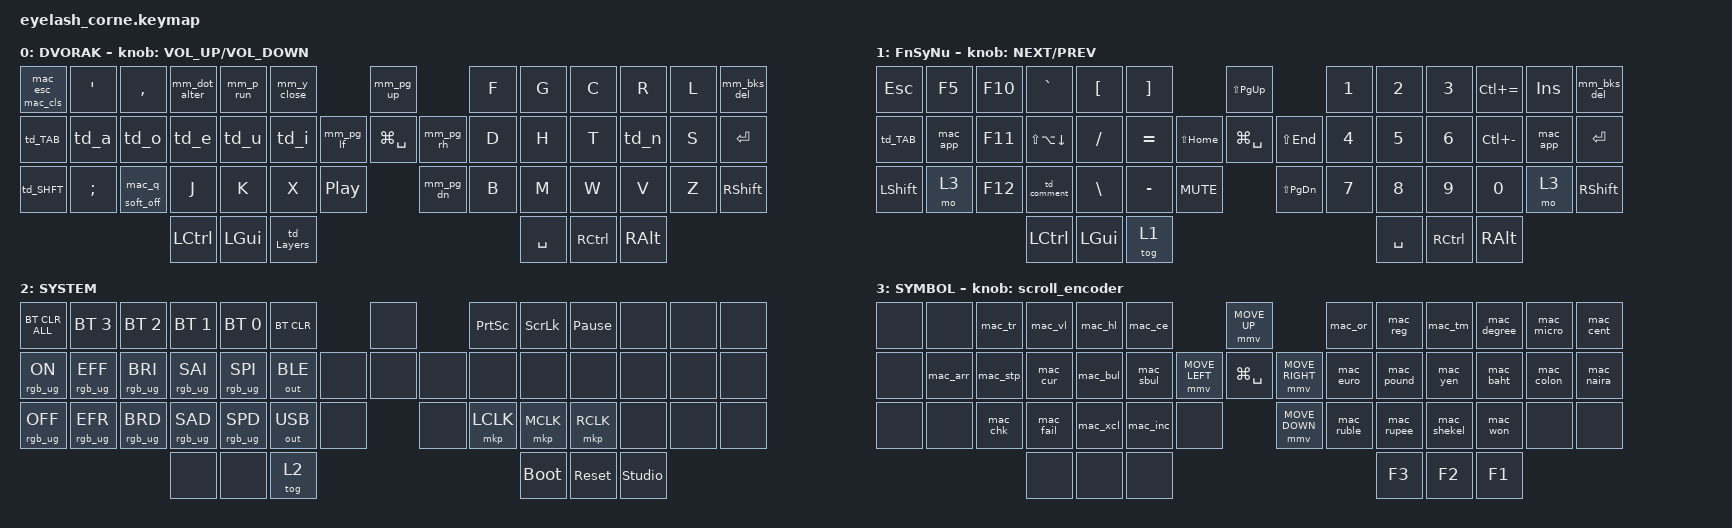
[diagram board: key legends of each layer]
#define ZMK_POINTING_DEFAULT_MOVE_VAL 1200  // antes 600
#define ZMK_POINTING_DEFAULT_SCRL_VAL 25    // antes 10

#include <input/processors.dtsi>
#include <zephyr/dt-bindings/input/input-event-codes.h>
#include <behaviors.dtsi>
#include <dt-bindings/zmk/bt.h>
#include <dt-bindings/zmk/keys.h>
#include <dt-bindings/zmk/outputs.h>
#include <dt-bindings/zmk/pointing.h>
#include <dt-bindings/zmk/rgb.h>

// Escaladores de movimiento y scroll
&mmv_input_listener { input-processors = <&zip_xy_scaler 2 1>; };
&msc_input_listener { input-processors = <&zip_scroll_scaler 2 1>; };

// Scroll config
&msc {
   acceleration-exponent = <1>;
   time-to-max-speed-ms = <300>;
   delay-ms = <0>;
};

// Mouse move config
&mmv {
   time-to-max-speed-ms = <300>;
   acceleration-exponent = <1>;
   trigger-period-ms = <16>;
};

// Apagado suave
&soft_off {
   hold-time-ms = <4000>;
   /delete-property/ split-peripheral-off-on-press;
};

// =========================
// BEHAVIORS
// =========================
/ {
      behaviors {
         // =========================
         // Tap-Dance
         // =========================
         td_SHFT: td_SHFT {
            compatible = "zmk,behavior-tap-dance";
            display-name = "Shift/Caps Lock";
            #binding-cells = <0>;
            tapping-term-ms = <250>;
            bindings = <&kp LEFT_SHIFT>, <&kp CAPS>;
         };

         td_TAB: td_TAB {
            compatible = "zmk,behavior-tap-dance";
            display-name = "TAB/BACK TAP";
            #binding-cells = <0>;
            tapping-term-ms = <200>;
            bindings = <&kp TAB>, <&kp LS(TAB)>;
         };

         td_Layers: td_Layers {
            compatible = "zmk,behavior-tap-dance";
            display-name = "Intercambio L1 y L2";
            #binding-cells = <0>;
            tapping-term-ms = <250>;
            bindings = <&tog 1>, <&tog 2>;
         };

         td_comment: td_comment {
            compatible = "zmk,behavior-tap-dance";
            display-name = "n/ñ";
            #binding-cells = <0>;
            tapping-term-ms = <250>;
            bindings = <&mac_comment>, <&mac_uncomment>;
         };

         // =========================
         // VOCALES Y ñ
         // =========================
         td_a: td_a {
            compatible = "zmk,behavior-tap-dance";
            display-name = "a/á";
            #binding-cells = <0>;
            tapping-term-ms = <250>;
            bindings = <&kp A>, <&mac_a>;
         };

         td_o: td_o {
            compatible = "zmk,behavior-tap-dance";
            display-name = "o/ó";
            #binding-cells = <0>;
            tapping-term-ms = <250>;
            bindings = <&kp O>, <&mac_o>;
         };

         td_e: td_e {
            compatible = "zmk,behavior-tap-dance";
            display-name = "e/é";
            #binding-cells = <0>;
            tapping-term-ms = <250>;
            bindings = <&kp E>, <&mac_e>;
         };

         td_u: td_u {
            compatible = "zmk,behavior-tap-dance";
            display-name = "u/ú";
            #binding-cells = <0>;
            tapping-term-ms = <250>;
            bindings = <&kp U>, <&mac_u>;
         };

         td_i: td_i {
            compatible = "zmk,behavior-tap-dance";
            display-name = "i/í";
            #binding-cells = <0>;
            tapping-term-ms = <250>;
            bindings = <&kp I>, <&mac_i>;
         };
         
         td_n: td_n {
            compatible = "zmk,behavior-tap-dance";
            display-name = "n/ñ";
            #binding-cells = <0>;
            tapping-term-ms = <250>;
            bindings = <&kp N>, <&mac_n>;
         };
         
         // =========================
         // Mod-Morphs
         // =========================
         mm_pg_up: mm_pg_up {
            compatible = "zmk,behavior-mod-morph";
            #binding-cells = <0>;
            bindings = <&kp UP>, <&kp PG_UP>;
            mods = <MOD_LCTL>;
         };

         mm_pg_dn: mm_pg_dn {
            compatible = "zmk,behavior-mod-morph";
            #binding-cells = <0>;
            bindings = <&kp DOWN>, <&kp PAGE_DOWN>;
            mods = <MOD_LCTL>;
         };

         mm_pg_lf: mm_pg_lf {
            compatible = "zmk,behavior-mod-morph";
            #binding-cells = <0>;
            bindings = <&kp LEFT>, <&kp HOME>;
            mods = <MOD_LCTL>;
         };

         mm_pg_rh: mm_pg_rh {
            compatible = "zmk,behavior-mod-morph";
            #binding-cells = <0>;
            bindings = <&kp RIGHT>, <&kp END>;
            mods = <MOD_LCTL>;
         };

         // BackSpace | Suprim
         mm_bks_del: mm_bks_del {
            compatible = "zmk,behavior-mod-morph";
            #binding-cells = <0>;
            bindings = <&kp BSPC>, <&kp DEL>;
            mods = <MOD_LSFT>;
         };

         mm_dot_alter: mm_dot_alter {
            compatible = "zmk,behavior-mod-morph";
            #binding-cells = <0>;
            bindings = <&kp DOT>, <&kp F1>;
            mods = <MOD_RALT>;
         };

         mm_p_run: mm_p_run {
            compatible = "zmk,behavior-mod-morph";
            #binding-cells = <0>;
            bindings = <&kp P>, <&kp F2>;
            mods = <MOD_RALT>;
         };

         mm_y_close: mm_y_close {
            compatible = "zmk,behavior-mod-morph";
            #binding-cells = <0>;
            bindings = <&kp Y>, <&kp F4>;
            mods = <MOD_RALT>;
         };

         
         // =========================
         // Hold-Taps
         // =========================
         // Soft Off
         ht_so_q: ht_so_q {
            compatible = "zmk,behavior-hold-tap";
            #binding-cells = <2>;
            flavor = "tap-preferred";
            tapping-term-ms = <250>;
            bindings = <&soft_off>, <&mac_q>;        
         };

         // Escape Close
         ht_cls_esc: ht_cls_esc {
            compatible = "zmk,behavior-hold-tap";
            #binding-cells = <2>;
            flavor = "tap-preferred";
            tapping-term-ms = <250>;
            bindings = <&mac_cls>, <&mac_esc>;        
         };
      };

      macros {
         // =========================
         // Acentos
         // =========================
         mac_a: mac_a {
            compatible = "zmk,behavior-macro";
            #binding-cells = <0>;
            bindings =
               <&macro_press   &kp RGUI>,
               <&macro_tap     &kp APOSTROPHE>,
               <&macro_tap     &kp A>,
               <&macro_release &kp RGUI>;
         };

         mac_e: mac_e {
            compatible = "zmk,behavior-macro";
            #binding-cells = <0>;
            bindings =
               <&macro_press   &kp RGUI>,
               <&macro_tap     &kp APOSTROPHE>,
               <&macro_tap     &kp E>,
               <&macro_release &kp RGUI>;
         };

         mac_i: mac_i {
            compatible = "zmk,behavior-macro";
            #binding-cells = <0>;
            bindings =
               <&macro_press   &kp RGUI>,
               <&macro_tap     &kp APOSTROPHE>,
               <&macro_tap     &kp I>,
               <&macro_release &kp RGUI>;
         };

         mac_o: mac_o {
            compatible = "zmk,behavior-macro";
            #binding-cells = <0>;
            bindings =
               <&macro_press   &kp RGUI>,
               <&macro_tap     &kp APOSTROPHE>,
               <&macro_tap     &kp O>,
               <&macro_release &kp RGUI>;
         };

         mac_u: mac_u {
            compatible = "zmk,behavior-macro";
            #binding-cells = <0>;
            bindings =
               <&macro_press   &kp RGUI>,
               <&macro_tap     &kp APOSTROPHE>,
               <&macro_tap     &kp U>,
               <&macro_release &kp RGUI>;
         };

         mac_n: mac_n {
            compatible = "zmk,behavior-macro";
            #binding-cells = <0>;
            bindings =
               <&macro_press   &kp RGUI>,
               <&macro_tap     &kp TILDE>,
               <&macro_tap     &kp N>,
               <&macro_release &kp RGUI>;
         };

         mac_q: mac_q {
            compatible = "zmk,behavior-macro";
            #binding-cells = <0>;
            bindings = <&macro_tap &kp Q>;
         };

         mac_esc: mac_esc {
            compatible = "zmk,behavior-macro";
            #binding-cells = <0>;
            bindings = <&macro_tap &kp ESC>;
         };

         // =========================
         // Comentarios
         // ========================= 
         mac_comment: mac_comment {
            compatible = "zmk,behavior-macro";
            #binding-cells = <0>;
            wait-ms = <10>;
            tap-ms = <10>;
            bindings = 
               <&macro_press   &kp LEFT_CONTROL>,
               <&macro_press   &kp K>,
               <&macro_tap     &kp C>,
               <&macro_release &kp K>,
               <&macro_release &kp LEFT_CONTROL>;
         };
 
         mac_uncomment: mac_uncomment {
            compatible = "zmk,behavior-macro";
            #binding-cells = <0>;
            wait-ms = <10>;
            tap-ms = <10>;
            bindings = 
               <&macro_press   &kp LEFT_CONTROL>,
               <&macro_press   &kp K>,
               <&macro_tap     &kp U>,
               <&macro_release &kp K>,
               <&macro_release &kp LEFT_CONTROL>;
         };
 
         mac_cls: mac_cls {
            compatible = "zmk,behavior-macro";
            #binding-cells = <0>;
            wait-ms = <10>;
            tap-ms = <10>;
            bindings = 
               <&macro_press   &kp LCTRL>,
               <&macro_press   &kp LALT>,
               <&macro_tap     &kp ESC>,
               <&macro_release &kp LALT>,
               <&macro_release &kp LCTRL>;
         };

         mac_or: mac_or {
            compatible = "zmk,behavior-macro";
            #binding-cells = <0>;
            wait-ms = <10>;
            bindings =
               <&macro_press   &kp LCTRL>,
               <&macro_press   &kp LSHFT>,
               <&macro_tap     &kp U>,
               <&macro_release &kp LSHFT>,
               <&macro_release &kp LCTRL>,
               <&macro_tap     &kp NUMBER_0>,
               <&macro_tap     &kp NUMBER_0>,
               <&macro_tap     &kp A>,
               <&macro_tap     &kp NUMBER_9>,
               <&macro_tap     &kp ENTER>;
         };

         mac_reg: mac_reg {
            compatible = "zmk,behavior-macro";
            #binding-cells = <0>;
            wait-ms = <10>;
            bindings =
               <&macro_press   &kp LCTRL>,
               <&macro_press   &kp LSHFT>,
               <&macro_tap     &kp U>,
               <&macro_release &kp LSHFT>,
               <&macro_release &kp LCTRL>,
               <&macro_tap     &kp NUMBER_0>,
               <&macro_tap     &kp NUMBER_0>,
               <&macro_tap     &kp A>,
               <&macro_tap     &kp E>,
               <&macro_tap     &kp ENTER>;
         };

         mac_tm: mac_tm {
            compatible = "zmk,behavior-macro";
            #binding-cells = <0>;
            wait-ms = <10>;
            bindings =
               <&macro_press   &kp LCTRL>,
               <&macro_press   &kp LSHFT>,
               <&macro_tap     &kp U>,
               <&macro_release &kp LSHFT>,
               <&macro_release &kp LCTRL>,
               <&macro_tap     &kp NUMBER_2>,
               <&macro_tap     &kp NUMBER_1>,
               <&macro_tap     &kp NUMBER_2>,
               <&macro_tap     &kp NUMBER_2>,
               <&macro_tap     &kp ENTER>;
         };

         mac_cent: mac_cent {
            compatible = "zmk,behavior-macro";
            #binding-cells = <0>;
            wait-ms = <10>;
            bindings =
               <&macro_press   &kp LCTRL>,
               <&macro_press   &kp LSHFT>,
               <&macro_tap     &kp U>,
               <&macro_release &kp LSHFT>,
               <&macro_release &kp LCTRL>,
               <&macro_tap   &kp NUMBER_0>,
               <&macro_tap   &kp NUMBER_0>,
               <&macro_tap   &kp A>,
               <&macro_tap   &kp NUMBER_2>,
               <&macro_tap   &kp ENTER>;
         };

         mac_euro: mac_euro {
            compatible = "zmk,behavior-macro";
            #binding-cells = <0>;
            wait-ms = <10>;
            bindings =
               <&macro_press   &kp LCTRL>,
               <&macro_press   &kp LSHFT>,
               <&macro_tap     &kp U>,
               <&macro_release &kp LSHFT>,
               <&macro_release &kp LCTRL>,
               <&macro_tap     &kp NUMBER_2>,
               <&macro_tap     &kp NUMBER_0>,
               <&macro_tap     &kp A>,
               <&macro_tap     &kp C>,
               <&macro_tap     &kp ENTER>;
         };

         mac_pound: mac_pound {
            compatible = "zmk,behavior-macro";
            #binding-cells = <0>;
            wait-ms = <10>;
            bindings =
               <&macro_press   &kp LCTRL>,
               <&macro_press   &kp LSHFT>,
               <&macro_tap     &kp U>,
               <&macro_release &kp LSHFT>,
               <&macro_release &kp LCTRL>,
               <&macro_tap     &kp NUMBER_0>,
               <&macro_tap     &kp NUMBER_0>,
               <&macro_tap     &kp A>,
               <&macro_tap     &kp NUMBER_3>,
               <&macro_tap     &kp ENTER>;
         };

         mac_yen: mac_yen {
            compatible = "zmk,behavior-macro";
            #binding-cells = <0>;
            wait-ms = <10>;
            bindings =
               <&macro_press   &kp LCTRL>,
               <&macro_press   &kp LSHFT>,
               <&macro_tap     &kp U>,
               <&macro_release &kp LSHFT>,
               <&macro_release &kp LCTRL>,
               <&macro_tap     &kp NUMBER_0>,
               <&macro_tap     &kp NUMBER_0>,
               <&macro_tap     &kp A>,
               <&macro_tap     &kp NUMBER_5>,
               <&macro_tap     &kp ENTER>;
         };

         mac_won: mac_won {
            compatible = "zmk,behavior-macro";
            #binding-cells = <0>;
            wait-ms = <10>;
            bindings =
               <&macro_press   &kp LCTRL>,
               <&macro_press   &kp LSHFT>,
               <&macro_tap     &kp U>,
               <&macro_release &kp LSHFT>,
               <&macro_release &kp LCTRL>,
               <&macro_tap   &kp NUMBER_2>,
               <&macro_tap   &kp NUMBER_0>,
               <&macro_tap   &kp A>,
               <&macro_tap   &kp NUMBER_9>,
               <&macro_tap   &kp ENTER>;
         };

         mac_ruble: mac_ruble {
            compatible = "zmk,behavior-macro";
            #binding-cells = <0>;
            wait-ms = <10>;
            bindings =
               <&macro_press   &kp LCTRL>,
               <&macro_press   &kp LSHFT>,
               <&macro_tap     &kp U>,
               <&macro_release &kp LSHFT>,
               <&macro_release &kp LCTRL>,
               <&macro_tap   &kp NUMBER_2>,
               <&macro_tap   &kp NUMBER_0>,
               <&macro_tap   &kp B>,
               <&macro_tap   &kp D>,
               <&macro_tap   &kp ENTER>;
         };

         mac_rupee: mac_rupee {
            compatible = "zmk,behavior-macro";
            #binding-cells = <0>;
            wait-ms = <10>;
            bindings =
               <&macro_press   &kp LCTRL>,
               <&macro_press   &kp LSHFT>,
               <&macro_tap     &kp U>,
               <&macro_release &kp LSHFT>,
               <&macro_release &kp LCTRL>,
               <&macro_tap   &kp NUMBER_2>,
               <&macro_tap   &kp NUMBER_0>,
               <&macro_tap   &kp B>,
               <&macro_tap   &kp NUMBER_9>,
               <&macro_tap   &kp ENTER>;
         };

         mac_naira: mac_naira {
            compatible = "zmk,behavior-macro";
            #binding-cells = <0>;
            wait-ms = <10>;
            bindings =
               <&macro_press   &kp LCTRL>,
               <&macro_press   &kp LSHFT>,
               <&macro_tap     &kp U>,
               <&macro_release &kp LSHFT>,
               <&macro_release &kp LCTRL>,
               <&macro_tap   &kp NUMBER_2>,
               <&macro_tap   &kp NUMBER_0>,
               <&macro_tap   &kp A>,
               <&macro_tap   &kp NUMBER_6>,
               <&macro_tap   &kp ENTER>;
         };

         mac_shekel: mac_shekel {
            compatible = "zmk,behavior-macro";
            #binding-cells = <0>;
            wait-ms = <10>;
            bindings =
               <&macro_press   &kp LCTRL>,
               <&macro_press   &kp LSHFT>,
               <&macro_tap     &kp U>,
               <&macro_release &kp LSHFT>,
               <&macro_release &kp LCTRL>,
               <&macro_tap   &kp NUMBER_2>,
               <&macro_tap   &kp NUMBER_0>,
               <&macro_tap   &kp A>,
               <&macro_tap   &kp A>,
               <&macro_tap   &kp ENTER>;
         };

         mac_baht: mac_baht {
            compatible = "zmk,behavior-macro";
            #binding-cells = <0>;
            wait-ms = <10>;
            bindings =
               <&macro_press   &kp LCTRL>,
               <&macro_press   &kp LSHFT>,
               <&macro_tap     &kp U>,
               <&macro_release &kp LSHFT>,
               <&macro_release &kp LCTRL>,
               <&macro_tap   &kp NUMBER_0>,
               <&macro_tap   &kp E>,
               <&macro_tap   &kp NUMBER_3>,
               <&macro_tap   &kp F>,
               <&macro_tap   &kp ENTER>;
         };

         mac_colon: mac_colon {
            compatible = "zmk,behavior-macro";
            #binding-cells = <0>;
            wait-ms = <10>;
            bindings =
               <&macro_press   &kp LCTRL>,
               <&macro_press   &kp LSHFT>,
               <&macro_tap     &kp U>,
               <&macro_release &kp LSHFT>,
               <&macro_release &kp LCTRL>,
               <&macro_tap   &kp NUMBER_2>,
               <&macro_tap   &kp NUMBER_0>,
               <&macro_tap   &kp A>,
               <&macro_tap   &kp NUMBER_1>,
               <&macro_tap   &kp ENTER>;
         };

         mac_degree: mac_degree {
            compatible = "zmk,behavior-macro";
            #binding-cells = <0>;
            wait-ms = <10>;
            bindings =
               <&macro_press   &kp LCTRL>,
               <&macro_press   &kp LSHFT>,
               <&macro_tap     &kp U>,
               <&macro_release &kp LSHFT>,
               <&macro_release &kp LCTRL>,
               <&macro_tap     &kp NUMBER_0>,
               <&macro_tap     &kp NUMBER_0>,
               <&macro_tap     &kp B>,
               <&macro_tap     &kp NUMBER_0>,
               <&macro_tap     &kp ENTER>;
         };

         mac_micro: mac_micro {
            compatible = "zmk,behavior-macro";
            #binding-cells = <0>;
            wait-ms = <10>;
            bindings =
               <&macro_press   &kp LCTRL>,
               <&macro_press   &kp LSHFT>,
               <&macro_tap     &kp U>,
               <&macro_release &kp LSHFT>,
               <&macro_release &kp LCTRL>,
               <&macro_tap     &kp NUMBER_0>,
               <&macro_tap     &kp NUMBER_0>,
               <&macro_tap     &kp B>,
               <&macro_tap     &kp NUMBER_5>,
               <&macro_tap     &kp ENTER>;
         };

         // Arbol
         mac_hl: mac_hl {
            compatible = "zmk,behavior-macro";
            #binding-cells = <0>;
            wait-ms = <20>;
            bindings =
               <&macro_press   &kp LCTRL>,
               <&macro_press   &kp LSHFT>,
               <&macro_tap     &kp U>,
               <&macro_release &kp LSHFT>,
               <&macro_release &kp LCTRL>,
               <&macro_tap &kp NUMBER_2>,
               <&macro_tap &kp NUMBER_5>,
               <&macro_tap &kp NUMBER_0>,
               <&macro_tap &kp NUMBER_0>,
               <&macro_tap &kp ENTER>;
         };

         mac_vl: mac_vl { 
            compatible = "zmk,behavior-macro"; 
            #binding-cells = <0>; 
            wait-ms = <20>;
            bindings =
               <&macro_press   &kp LCTRL>,
               <&macro_press   &kp LSHFT>,
               <&macro_tap     &kp U>,
               <&macro_release &kp LSHFT>,
               <&macro_release &kp LCTRL>,
               <&macro_tap &kp NUMBER_2>,
               <&macro_tap &kp NUMBER_5>,
               <&macro_tap &kp NUMBER_0>,
               <&macro_tap &kp NUMBER_2>,
               <&macro_tap &kp ENTER>;
         };

         mac_tr: mac_tr {
            compatible = "zmk,behavior-macro"; 
            #binding-cells = <0>; 
            wait-ms = <20>;
            bindings =
               <&macro_press   &kp LCTRL>,
               <&macro_press   &kp LSHFT>,
               <&macro_tap     &kp U>,
               <&macro_release &kp LSHFT>,
               <&macro_release &kp LCTRL>,
               <&macro_tap &kp NUMBER_2>,
               <&macro_tap &kp NUMBER_5>,
               <&macro_tap &kp NUMBER_1>,
               <&macro_tap &kp C>,
               <&macro_tap &kp ENTER>;
         };

         mac_ce: mac_ce { 
            compatible = "zmk,behavior-macro"; 
            #binding-cells = <0>; 
            wait-ms = <20>;
            bindings =
               <&macro_press   &kp LCTRL>,
               <&macro_press   &kp LSHFT>,
               <&macro_tap     &kp U>,
               <&macro_release &kp LSHFT>,
               <&macro_release &kp LCTRL>,
               <&macro_tap &kp NUMBER_2>,
               <&macro_tap &kp NUMBER_5>,
               <&macro_tap &kp NUMBER_1>,
               <&macro_tap &kp NUMBER_4>,
               <&macro_tap &kp ENTER>;
         };

         mac_arr: mac_arr { 
            compatible = "zmk,behavior-macro"; 
            #binding-cells = <0>; 
            wait-ms = <20>;
            bindings =
               <&macro_press   &kp LCTRL>,
               <&macro_press   &kp LSHFT>,
               <&macro_tap     &kp U>,
               <&macro_release &kp LSHFT>,
               <&macro_release &kp LCTRL>,
               <&macro_tap &kp NUMBER_2>,
               <&macro_tap &kp NUMBER_1>,
               <&macro_tap &kp NUMBER_9>,
               <&macro_tap &kp NUMBER_2>,
               <&macro_tap &kp ENTER>;
         };

         mac_stp: mac_stp { 
            compatible = "zmk,behavior-macro"; 
            #binding-cells = <0>; 
            wait-ms = <20>;
            bindings =
               <&macro_press   &kp LCTRL>,
               <&macro_press   &kp LSHFT>,
               <&macro_tap     &kp U>,
               <&macro_release &kp LSHFT>,
               <&macro_release &kp LCTRL>,
               <&macro_tap &kp NUMBER_2>,
               <&macro_tap &kp NUMBER_7>,
               <&macro_tap &kp A>,
               <&macro_tap &kp NUMBER_4>,
               <&macro_tap &kp ENTER>;
         };

         mac_cur: mac_cur { 
            compatible = "zmk,behavior-macro"; 
            #binding-cells = <0>; 
            wait-ms = <20>;
            bindings =
               <&macro_press   &kp LCTRL>,
               <&macro_press   &kp LSHFT>,
               <&macro_tap     &kp U>,
               <&macro_release &kp LSHFT>,
               <&macro_release &kp LCTRL>,
               <&macro_tap &kp NUMBER_2>,
               <&macro_tap &kp NUMBER_9>,
               <&macro_tap &kp NUMBER_3>,
               <&macro_tap &kp NUMBER_7>, 
               <&macro_tap &kp ENTER>;
         };

         mac_bul: mac_bul { 
            compatible = "zmk,behavior-macro"; 
            #binding-cells = <0>; 
            wait-ms = <20>;
            bindings =
               <&macro_press   &kp LCTRL>,
               <&macro_press   &kp LSHFT>,
               <&macro_tap     &kp U>,
               <&macro_release &kp LSHFT>,
               <&macro_release &kp LCTRL>,
               <&macro_tap &kp NUMBER_2>,
               <&macro_tap &kp NUMBER_0>,
               <&macro_tap &kp NUMBER_2>,
               <&macro_tap &kp NUMBER_2>,
               <&macro_tap &kp ENTER>;
         };

         mac_sbul: mac_sbul { 
            compatible = "zmk,behavior-macro"; 
            #binding-cells = <0>; 
            wait-ms = <20>;
            bindings =
               <&macro_press   &kp LCTRL>,
               <&macro_press   &kp LSHFT>,
               <&macro_tap     &kp U>,
               <&macro_release &kp LSHFT>,
               <&macro_release &kp LCTRL>,
               <&macro_tap &kp NUMBER_2>,
               <&macro_tap &kp NUMBER_5>,
               <&macro_tap &kp E>,
               <&macro_tap &kp NUMBER_6>,
               <&macro_tap &kp ENTER>;
         };

         mac_chk: mac_chk { 
            compatible = "zmk,behavior-macro"; 
            #binding-cells = <0>; 
            wait-ms = <20>;
            bindings =
               <&macro_press   &kp LCTRL>,
               <&macro_press   &kp LSHFT>,
               <&macro_tap     &kp U>,
               <&macro_release &kp LSHFT>,
               <&macro_release &kp LCTRL>,
               <&macro_tap &kp NUMBER_2>,
               <&macro_tap &kp NUMBER_7>,
               <&macro_tap &kp NUMBER_0>,
               <&macro_tap &kp NUMBER_5>,
               <&macro_tap &kp ENTER>;
         };

         mac_fail: mac_fail { 
            compatible = "zmk,behavior-macro"; 
            #binding-cells = <0>; 
            wait-ms = <20>;
            bindings =
               <&macro_press   &kp LCTRL>,
               <&macro_press   &kp LSHFT>,
               <&macro_tap     &kp U>,
               <&macro_release &kp LSHFT>,
               <&macro_release &kp LCTRL>,
               <&macro_tap &kp NUMBER_2>,
               <&macro_tap &kp NUMBER_7>,
               <&macro_tap &kp NUMBER_4>,
               <&macro_tap &kp C>,
               <&macro_tap &kp ENTER>;
         };

         mac_xcl: mac_xcl {
            compatible = "zmk,behavior-macro"; 
            #binding-cells = <0>; 
            wait-ms = <20>;
            bindings =
               <&macro_press   &kp LCTRL>,
               <&macro_press   &kp LSHFT>,
               <&macro_tap     &kp U>,
               <&macro_release &kp LSHFT>,
               <&macro_release &kp LCTRL>,
               <&macro_tap &kp NUMBER_2>,
               <&macro_tap &kp NUMBER_7>,
               <&macro_tap &kp NUMBER_5>,
               <&macro_tap &kp NUMBER_7>,
               <&macro_tap &kp ENTER>;
         };

         mac_inc: mac_inc {
            compatible = "zmk,behavior-macro"; 
            #binding-cells = <0>; 
            wait-ms = <20>;
            bindings =
               <&macro_press   &kp LCTRL>,
               <&macro_press   &kp LSHFT>,
               <&macro_tap     &kp U>,
               <&macro_release &kp LSHFT>,
               <&macro_release &kp LCTRL>,
               <&macro_tap &kp NUMBER_2>,
               <&macro_tap &kp NUMBER_7>,
               <&macro_tap &kp NUMBER_5>,
               <&macro_tap &kp NUMBER_3>,
               <&macro_tap &kp ENTER>;
         };

         mac_app: mac_app {
            compatible = "zmk,behavior-macro";
            #binding-cells = <0>;
            bindings = <&macro_tap &kp K_APPLICATION>;
         };
      };

      // =========================
      // ENCODERS
      // =========================
      rgb_encoder: rgb_encoder {
         compatible = "zmk,behavior-sensor-rotate";
         #sensor-binding-cells = <0>;
         bindings = <&rgb_ug RGB_BRI>, <&rgb_ug RGB_BRD>;
      };

      scroll_encoder: scroll_encoder {
         compatible = "zmk,behavior-sensor-rotate";
         #sensor-binding-cells = <0>;
         bindings = <&msc SCRL_DOWN>, <&msc SCRL_UP>;
         tap-ms = <100>;
      };
   
      // =========================
      // KEYMAP
      // =========================
      keymap {
         compatible = "zmk,keymap";

         // Capa base DVORAK
         default_layer {
            display-name = "DVORAK";
            bindings = <
               &ht_cls_esc 0 0  &kp SQT   &kp COMMA     &mm_dot_alter  &mm_p_run  &mm_y_close                      &mm_pg_up                  &kp F  &kp G  &kp C  &kp R  &kp L  &mm_bks_del
               &td_TAB          &td_a     &td_o         &td_e          &td_u      &td_i                 &mm_pg_lf  &kp LG(SPACE)  &mm_pg_rh   &kp D  &kp H  &kp T  &td_n  &kp S  &kp ENTER
               &td_SHFT         &kp SEMI  &ht_so_q 0 0  &kp J          &kp K      &kp X         &kp C_PP           &mm_pg_dn                  &kp B  &kp M  &kp W  &kp V  &kp Z  &kp RSHFT
                                                           &kp LCTRL   &kp LGUI   &td_Layers                                                  &kp SPACE   &kp RCTRL   &kp RALT
            >;
            sensor-bindings = <&inc_dec_kp C_VOLUME_UP C_VOLUME_DOWN>;
         };

         // FUNC | SYMB | NUM
         functions_layer {
            display-name = "FnSyNu";
            bindings = <
               &kp ESC    &kp F5    &kp F10  &kp GRAVE         &kp LBKT   &kp RBKT                            &kp LS(PG_UP)                &kp NUMBER_1  &kp NUMBER_2  &kp NUMBER_3  &kp LC(EQUAL)  &kp INS   &mm_bks_del
               &td_TAB    &mac_app  &kp F11  &kp LS(LA(DOWN))  &kp SLASH  &kp EQUAL             &kp LS(HOME)  &kp LG(SPACE)  &kp LS(END)   &kp NUMBER_4  &kp NUMBER_5  &kp NUMBER_6  &kp LC(MINUS)  &mac_app  &kp ENTER
               &kp LSHFT  &mo 3     &kp F12  &td_comment       &kp BSLH   &kp MINUS   &kp C_MUTE              &kp LS(PG_DN)                &kp NUMBER_7  &kp NUMBER_8  &kp NUMBER_9  &kp NUMBER_0   &mo 3     &kp RSHFT
                                                   &kp LCTRL   &kp LGUI   &tog 1                                                           &kp SPACE   &kp RCTRL   &kp RALT
            >;
            sensor-bindings = <&inc_dec_kp C_NEXT C_PREV>;
         };
         
         // SYSTEM
         system_layer {
            display-name = "SYSTEM";
            bindings = <
               &bt BT_CLR_ALL   &bt BT_SEL 3     &bt BT_SEL 2     &bt BT_SEL 1     &bt BT_SEL 0     &bt BT_CLR                 &none          &kp PRINTSCREEN  &kp SCROLLLOCK  &kp PAUSE_BREAK  &none  &none  &none
               &rgb_ug RGB_ON   &rgb_ug RGB_EFF  &rgb_ug RGB_BRI  &rgb_ug RGB_SAI  &rgb_ug RGB_SPI  &out OUT_BLE        &none  &none  &none   &none  &none  &none  &none  &none  &none
               &rgb_ug RGB_OFF  &rgb_ug RGB_EFR  &rgb_ug RGB_BRD  &rgb_ug RGB_SAD  &rgb_ug RGB_SPD  &out OUT_USB   &none       &none          &mkp LCLK  &mkp MCLK &mkp RCLK &none  &none  &none
                                                                                    &none   &none   &tog 2                                    &bootloader   &sys_reset   &studio_unlock
            >;
         };

         symbols_layer {
            display-name = "SYMBOL";
            bindings = <
               &none  &none     &mac_tr   &mac_vl    &mac_hl   &mac_ce                         &mmv MOVE_UP                      &mac_or     &mac_reg    &mac_tm      &mac_degree  &mac_micro  &mac_cent     
               &none  &mac_arr  &mac_stp  &mac_cur   &mac_bul  &mac_sbul       &mmv MOVE_LEFT  &kp LG(SPACE)   &mmv MOVE_RIGHT   &mac_euro   &mac_pound  &mac_yen     &mac_baht    &mac_colon  &mac_naira
               &none  &none     &mac_chk  &mac_fail  &mac_xcl  &mac_inc   &none                &mmv MOVE_DOWN                    &mac_ruble  &mac_rupee  &mac_shekel  &mac_won     &none       &none
                                                   &none   &none   &none                                                             &kp F3   &kp F2   &kp F1
            >;
            sensor-bindings = <&scroll_encoder>;
         };
      };
   };
